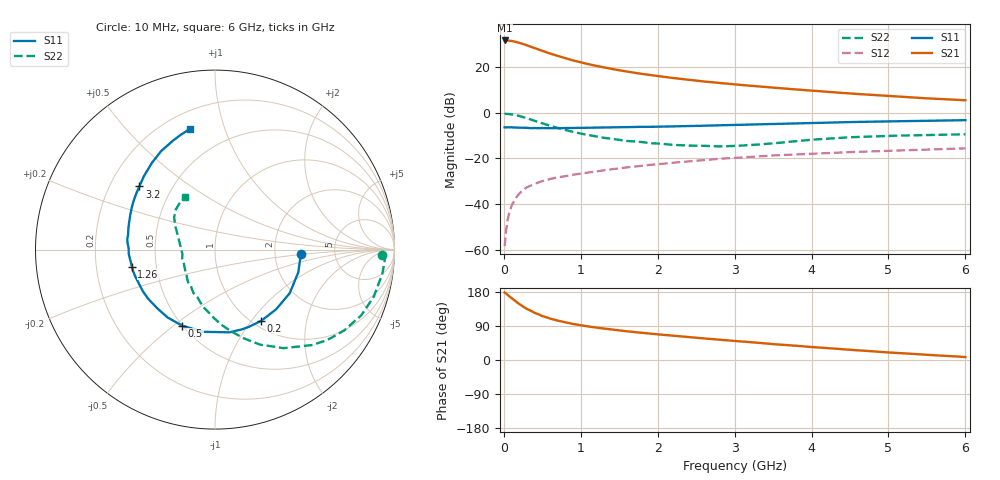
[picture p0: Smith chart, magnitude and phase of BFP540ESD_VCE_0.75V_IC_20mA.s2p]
! Infineon Technologies  Discrete & RF Semiconductors
! BFP540ESD
! VCE = 0.75 V,  IC =  20 mA
! Common Emitter S-Parameters:  Nov 2015
# GHz  S  MA  R  50
!  f  S11  S21  S12  S22
! GHz  MAG  ANG  MAG  ANG  MAG  ANG  MAG  ANG
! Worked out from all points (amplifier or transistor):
!   210 points, 10 MHz to 6 GHz, reference 50 ohm
!   highest |S21| = 31.6 dB at 10 MHz (marker M1)
!   |S21| within 3 dB of that: start of sweep to 372.1 MHz
!   unconditionally stable (mu >= 1): start of sweep to 11.37 MHz; 2.037 GHz to end of sweep
!   at 185 MHz: K = 0.22, MSG = 33.4 dB, |S12| = -36.1 dB
!   at 1.52 GHz: K = 0.91, MSG = 21.4 dB, |S12| = -24.3 dB
!   at 6 GHz: K = 1.13, MAG = 8.4 dB, |S12| = -15.6 dB
!   S11 on the Smith chart (normalised r, x): 10 MHz: 2.82, -0.20; 200 MHz: 1.09, -1.12; 500 MHz: 0.50, -0.54; 1.26 GHz: 0.36, -0.09; 3.2 GHz: 0.33, +0.33; 6 GHz: 0.30, +0.77
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0.01  0.479 -3.2  38.16 178.2  0.0012 98.2  0.9298 -1.8
0.02  0.4771 -7.0  37.69 177.0  0.0017 88.1  0.9485 -2.9
0.05  0.4809 -15.3  37.95 171.6  0.0046 83.4  0.9426 -8.0
0.1  0.482 -30.2  37.22 163.2  0.0091 81.7  0.9229 -16.4
0.15  0.476 -44.3  35.82 155.2  0.013 75.2  0.893 -24.3
0.2  0.4732 -57.2  33.98 147.8  0.0169 70.7  0.8505 -31.8
0.26  0.4691 -71.1  31.54 139.8  0.0211 66.8  0.7959 -39.7
0.3  0.4683 -79.9  29.95 134.9  0.0234 65.6  0.7577 -44.6
0.4  0.4626 -98.2  26.01 124.5  0.0277 60.3  0.6678 -55.3
0.5  0.4619 -113.3  22.68 116.0  0.0319 57.2  0.5863 -64.6
0.6  0.4612 -125.0  19.77 109.4  0.0355 55.5  0.5189 -72.1
0.7  0.4587 -134.6  17.52 103.9  0.0385 53.0  0.4643 -78.8
0.8  0.462 -143.3  15.54 99.1  0.0408 52.6  0.4183 -85.5
1.02  0.4649 -157.0  12.42 91.0  0.0472 51.5  0.3443 -97.1
1.26  0.4728 -168.4  10.13 84.0  0.0539 51.1  0.2905 -108.5
1.6  0.4812 178.9  7.963 75.8  0.0636 49.7  0.2408 -124.2
2.02  0.4962 166.7  6.272 67.3  0.0751 47.7  0.2112 -140.7
3.1  0.5438 142.2  4.033 48.8  0.1051 39.9  0.1915 175.9
3.2  0.549 140.1  3.903 47.2  0.1078 38.9  0.1959 172.2
4.1  0.6026 124.5  2.955 32.9  0.1286 30.5  0.263 147.8
5.1  0.6512 110.9  2.274 18.8  0.1484 21.5  0.3145 133.0
6  0.6869 101.7  1.874 7.8  0.1659 14.8  0.3371 120.0
